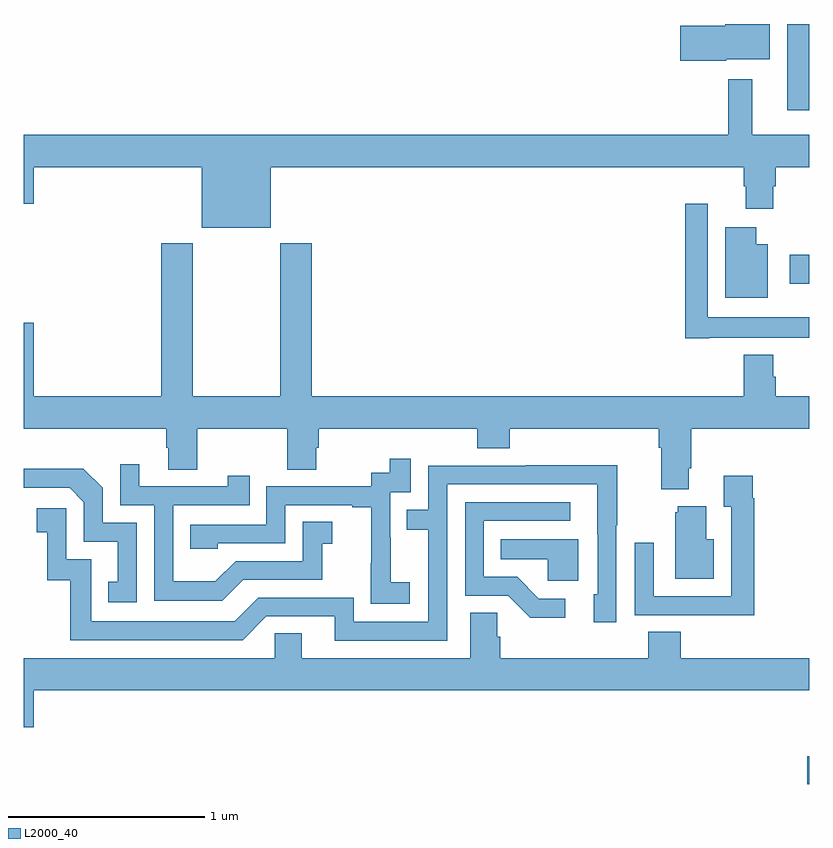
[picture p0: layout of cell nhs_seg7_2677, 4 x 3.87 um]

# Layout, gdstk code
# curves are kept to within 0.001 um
import gdstk
lib = gdstk.Library(unit=1e-6, precision=1e-09)
def R(c, l, rs):  # rectangles x0, y0, x1, y1
    for r in rs: c.add(gdstk.rectangle(r[:2], r[2:], *l))
def P(c, l, *ps):  # polygons
    for p in ps: c.add(gdstk.Polygon(p, *l))
L2000_40 = (2000, 40)

nhs_seg7_2677 = lib.new_cell('nhs_seg7_2677')
R(nhs_seg7_2677, L2000_40, [(288.99,1008.131,289,1008.273), (288.899,1010.678,289,1010.826), (288.887,1011.561,289,1012)])
P(nhs_seg7_2677, L2000_40, [(288.576,1011.821),(288.799,1011.821),(288.799,1012),(288.572,1012),(288.572,1011.992),(288.342,1011.992),(288.342,1011.814),(288.576,1011.814)],
  [(286.258,1011.272),(288.665,1011.272),(288.665,1011.174),(288.677,1011.174),(288.677,1011.06),(288.817,1011.06),(288.817,1011.174),(288.83,1011.174),(288.83,1011.272),(289,1011.272),(289,1011.436),(288.709,1011.436),(288.709,1011.718),(288.588,1011.718),(288.588,1011.436),(285,1011.436),(285,1011.084),(285.052,1011.084),(285.052,1011.272),(285.908,1011.272),(285.908,1010.963),(286.258,1010.963)],
  [(288.49,1010.402),(289,1010.402),(289,1010.506),(288.483,1010.506),(288.483,1011.085),(288.367,1011.085),(288.367,1010.4),(288.49,1010.4)],
  [(288.787,1010.878),(288.73,1010.878),(288.73,1010.965),(288.572,1010.965),(288.572,1010.606),(288.787,1010.606)],
  [(288.385,1009.738),(288.398,1009.738),(288.398,1009.94),(289,1009.94),(289,1010.104),(288.83,1010.104),(288.83,1010.205),(288.817,1010.205),(288.817,1010.317),(288.665,1010.317),(288.665,1010.104),(286.466,1010.104),(286.466,1010.884),(286.306,1010.884),(286.306,1010.104),(285.861,1010.104),(285.861,1010.884),(285.701,1010.884),(285.701,1010.104),(285.052,1010.104),(285.052,1010.479),(285,1010.479),(285,1009.94),(285.725,1009.94),(285.725,1009.842),(285.737,1009.842),(285.737,1009.732),(285.885,1009.732),(285.885,1009.94),(286.342,1009.94),(286.342,1009.732),(286.489,1009.732),(286.489,1009.842),(286.502,1009.842),(286.502,1009.94),(287.309,1009.94),(287.309,1009.841),(287.474,1009.841),(287.474,1009.94),(288.233,1009.94),(288.233,1009.844),(288.245,1009.844),(288.245,1009.631),(288.385,1009.631)],
  [(286.966,1009.159),(286.868,1009.159),(286.868,1009.388),(286.866,1009.388),(286.866,1009.617),(286.971,1009.617),(286.971,1009.786),(286.863,1009.786),(286.863,1009.716),(286.77,1009.716),(286.77,1009.647),(286.236,1009.647),(286.236,1009.452),(285.847,1009.452),(285.847,1009.329),(285.987,1009.329),(285.987,1009.356),(286.332,1009.356),(286.332,1009.551),(286.673,1009.551),(286.673,1009.539),(286.769,1009.539),(286.769,1009.255),(286.768,1009.255),(286.768,1009.049),(286.966,1009.049)],
  [(286.117,1009.17),(286.521,1009.17),(286.521,1009.355),(286.57,1009.355),(286.57,1009.465),(286.422,1009.465),(286.422,1009.266),(286.08,1009.266),(285.976,1009.162),(285.762,1009.162),(285.762,1009.551),(286.151,1009.551),(286.151,1009.699),(286.04,1009.699),(286.04,1009.647),(285.589,1009.647),(285.589,1009.759),(285.492,1009.759),(285.492,1009.551),(285.666,1009.551),(285.666,1009.065),(286.012,1009.065)],
  [(287.157,1009.656),(287.921,1009.656),(287.922,1009.098),(287.903,1009.098),(287.903,1008.954),(288.018,1008.954),(288.018,1009.447),(288.021,1009.447),(288.021,1009.754),(287.557,1009.754),(287.557,1009.752),(287.061,1009.752),(287.061,1009.527),(286.951,1009.527),(286.951,1009.426),(287.061,1009.426),(287.061,1008.957),(286.68,1008.957),(286.68,1009.08),(286.194,1009.08),(286.074,1008.96),(285.345,1008.96),(285.345,1009.275),(285.216,1009.275),(285.216,1009.534),(285.066,1009.534),(285.066,1009.413),(285.119,1009.413),(285.119,1009.167),(285.237,1009.167),(285.237,1008.864),(286.116,1008.864),(286.236,1008.984),(286.583,1008.984),(286.583,1008.861),(287.157,1008.861)],
  [(285.576,1009.461),(285.402,1009.461),(285.402,1009.638),(285.304,1009.736),(285,1009.736),(285,1009.638),(285.234,1009.638),(285.306,1009.566),(285.306,1009.365),(285.479,1009.365),(285.479,1009.161),(285.43,1009.161),(285.43,1009.056),(285.576,1009.056)],
  [(288.719,1009.586),(288.712,1009.586),(288.712,1009.699),(288.563,1009.699),(288.563,1009.543),(288.603,1009.543),(288.603,1009.086),(288.207,1009.086),(288.207,1009.36),(288.111,1009.36),(288.111,1008.99),(288.427,1008.99),(288.427,1008.989),(288.719,1008.989)],
  [(287.758,1009.074),(287.623,1009.074),(287.512,1009.185),(287.343,1009.185),(287.343,1009.47),(287.782,1009.47),(287.782,1009.566),(287.247,1009.566),(287.247,1009.089),(287.466,1009.089),(287.579,1008.977),(287.758,1008.977)],
  [(288.514,1009.378),(288.475,1009.378),(288.475,1009.546),(288.329,1009.546),(288.329,1009.515),(288.317,1009.515),(288.317,1009.175),(288.514,1009.175)],
  [(287.824,1009.378),(287.428,1009.378),(287.428,1009.274),(287.667,1009.274),(287.667,1009.166),(287.824,1009.166)],
  [(285.052,1008.608),(289,1008.608),(289,1008.772),(288.344,1008.772),(288.344,1008.905),(288.179,1008.905),(288.179,1008.772),(287.426,1008.772),(287.426,1008.881),(287.412,1008.881),(287.412,1009.004),(287.273,1009.004),(287.273,1008.772),(286.417,1008.772),(286.417,1008.899),(286.278,1008.899),(286.278,1008.772),(285,1008.772),(285,1008.42),(285.052,1008.42)])

lib.write_gds('nhs_seg7_2677.gds')
